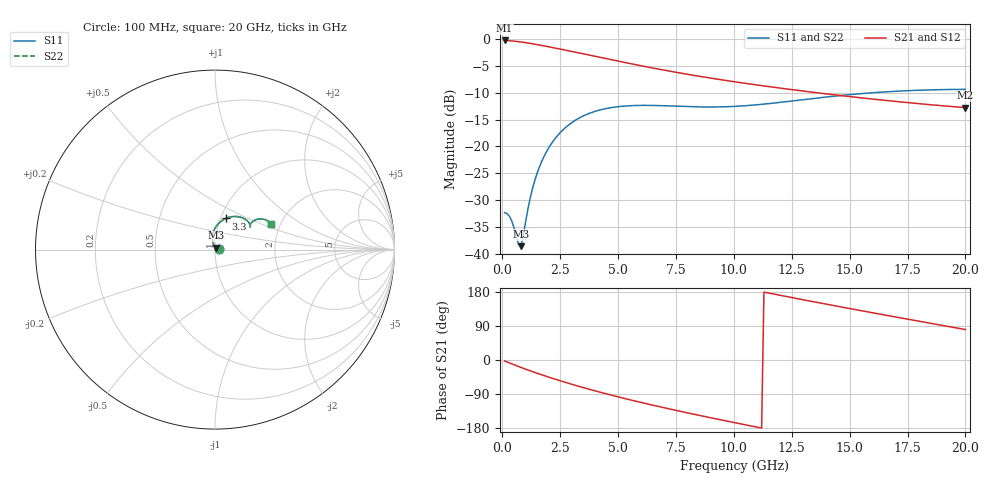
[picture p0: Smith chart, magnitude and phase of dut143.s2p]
! Touchstone file exported from HFSS 2023.1.0
!  File:  D:/Users/fzz/RDL_TSV/temp_RDL_TSV_143_1778752579.aedt
!  Generated:  6:04:26 %x4E0B%x5348  5%x6708 14, 2026
!  Design:  RDL_TSV
!  Project:  temp_RDL_TSV_143_1778752579
!  Setup:  Setup1
!  Solution:  Sweep
! Variables:
!  dtsv = 17.14um
!  hbump = 3um
!  htsv = 68.87um
!  ldown = 478.8um
!  lrdl = 636.36um
!  p = 40
!  p1 = 50.58um
!  rhole = 10um
!  subl = 3981.84um
!  t = 450um
!  tdown = 3.02um
!  trdl = 4.21um
!  viad = 10um
!  wdown = 11.1um
!  wrdl = 22.5um
!  xbump = 18um
# GHz S MA R 50.000000
! Terminal data exported
! Port[1] = TM1_1_T1
! Port[2] = TM1_4_T1
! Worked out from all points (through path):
!   200 points, 100 MHz to 20 GHz, reference 50 ohm
!   highest |S21| = -0.22 dB at 100 MHz (marker M1); lowest = -12.8 dB at 20 GHz (marker M2)
!   group delay of S21, straight-line fit = 36.7 ps
!   lowest |S11| = -38.6 dB at 800 MHz (marker M3), VSWR 1.02, Z = 50.6 + j1.01 ohm
!   |S11| at or under -10 dB: start of sweep to 15.91 GHz
!   |S22| runs from -38.6 to -9.3 dB; largest |S21 - S12| = 8.9e-15
!   S11 on the Smith chart (normalised r, x): 100 MHz: 1.05, +0.00; 3.3 GHz: 1.06, +0.38; 20 GHz: 1.78, +0.57
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0.1  0.0241 1.6  0.975 -2.6  0.975 -2.6  0.0241 1.6
! Gamma 0 0 0 0
! Port Impedance 50 0 50 0
0.3  0.02248 3.0  0.9696 -7.5  0.9696 -7.5  0.02248 3.0
0.4  0.02039 4.4  0.9658 -10.0  0.9658 -10.0  0.02039 4.4
0.7  0.01214 33.3  0.9507 -17.2  0.9507 -17.2  0.01215 33.2
0.8  0.01174 58.4  0.9445 -19.5  0.9445 -19.5  0.01175 58.4
0.9  0.01437 81.4  0.9379 -21.8  0.9379 -21.8  0.01437 81.3
1.1  0.02557 101.7  0.9237 -26.3  0.9237 -26.3  0.02556 101.6
1.3  0.0401 105.6  0.9084 -30.7  0.9084 -30.7  0.04007 105.6
1.5  0.05594 104.5  0.8925 -34.9  0.8925 -34.9  0.0559 104.5
1.7  0.07227 101.5  0.8762 -39.1  0.8762 -39.1  0.07222 101.5
2  0.09665 95.9  0.8515 -45.1  0.8515 -45.1  0.09657 95.8
2.4  0.1273 87.8  0.8187 -52.9  0.8187 -52.9  0.1272 87.7
3.3  0.1832 71.1  0.747 -69.4  0.747 -69.4  0.183 71.0
3.5  0.1928 67.8  0.7316 -72.8  0.7316 -72.8  0.1926 67.8
5.1  0.2363 47.4  0.6194 -98.8  0.6194 -98.8  0.2359 47.4
6.8  0.2405 35.9  0.5242 -123.4  0.5242 -123.4  0.24 35.9
8.3  0.2344 32.9  0.4594 -143.4  0.4594 -143.4  0.2338 32.9
10.1  0.237 34.4  0.3993 -166.2  0.3993 -166.2  0.2364 34.5
11.8  0.255 36.4  0.3548 173.1  0.3548 173.1  0.2545 36.5
13.4  0.2798 36.3  0.3206 154.2  0.3206 154.2  0.2794 36.4
16.7  0.3247 31.0  0.2668 116.6  0.2668 116.6  0.3243 31.1
20  0.3411 24.5  0.2301 80.5  0.2301 80.5  0.3409 24.6
